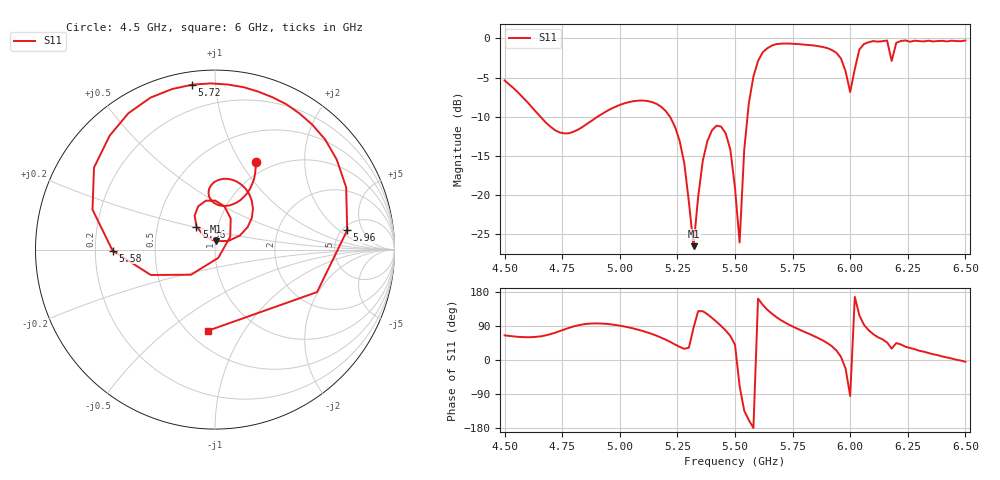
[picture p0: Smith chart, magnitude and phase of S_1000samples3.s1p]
! TOUCHSTONE file generated by CST MICROWAVE STUDIO
! Date and time: Wed Oct 26 16:06:23 2022
! Project name: L.cst
! Parameters = {Di=1.27; Epsilon_r=1.56; InnerDiameter=1.27; Length=2; Lf=10; Lg=60; OuterConductorThickness=0.2921; OuterDiameter=3.6; Wf=3; Wp=41.2; de=1.5; df=6.8; g=0.8; gx=1.57884; gy=3.45605; h=2.34; hf=1.524; px=14.8235; py=8.12408; w=9.7; wx=13.2446; wy=4.66803}
! Header version: 2018
! Port assignment regex: !\s*Touchstone port\s*([0-9]+)\s*=\s*(CST MWS port|CST DS port)\s*([0-9]+|Zmin|Zmax)\s*\(\"(.*)\"\)(\s*mode\s*([0-9]+))?.*
! Touchstone port assignment:
! Touchstone port 1 = CST MWS port 1 ("")
# GHz S DB R 50
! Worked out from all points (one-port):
!   101 points, 4.5 GHz to 6.5 GHz, reference 50 ohm
!   lowest |S11| = -26.6 dB at 5.32 GHz (marker M1), VSWR 1.10, Z = 50.2 + j4.71 ohm
!   |S11| at or under -10 dB: 4.655 GHz to 4.904 GHz (248.6 MHz wide, 5.2 % of centre); 5.217 GHz to 5.554 GHz (337.1 MHz wide, 6.26 % of centre)
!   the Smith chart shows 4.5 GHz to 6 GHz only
!   S11 on the Smith chart (normalised r, x): 4.5 GHz: 0.85, +1.17; 5.36 GHz: 0.79, +0.21; 5.58 GHz: 0.27, -0.00; 5.72 GHz: 0.07, +0.87; 5.96 GHz: 5.51, +2.65; 6 GHz: 0.62, -0.70
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4.5  -5.37 65.1
4.76  -12.14 80.7
5  -8.50 90.7
5.16  -8.37 63.9
5.26  -13.13 34.5
5.32  -26.55 84.9
5.36  -15.66 128.8
5.44  -11.27 89.6
5.5  -19.10 40.2
5.52  -26.08 -68.6
5.54  -14.25 -133.7
5.58  -4.87 -179.4
5.64  -1.27 132.8
5.72  -0.65 97.9
5.76  -0.70 85.6
5.88  -1.09 52.1
5.96  -2.57 8.3
5.98  -4.21 -22.6
6  -6.86 -95.1
6.02  -3.91 166.6
6.04  -1.41 117.4
6.06  -0.71 92.7
6.1  -0.34 68.2
6.16  -0.27 46.3
6.18  -2.88 30.0
6.2  -0.56 44.7
6.26  -0.43 31.7
6.5  -0.27 -4.6
